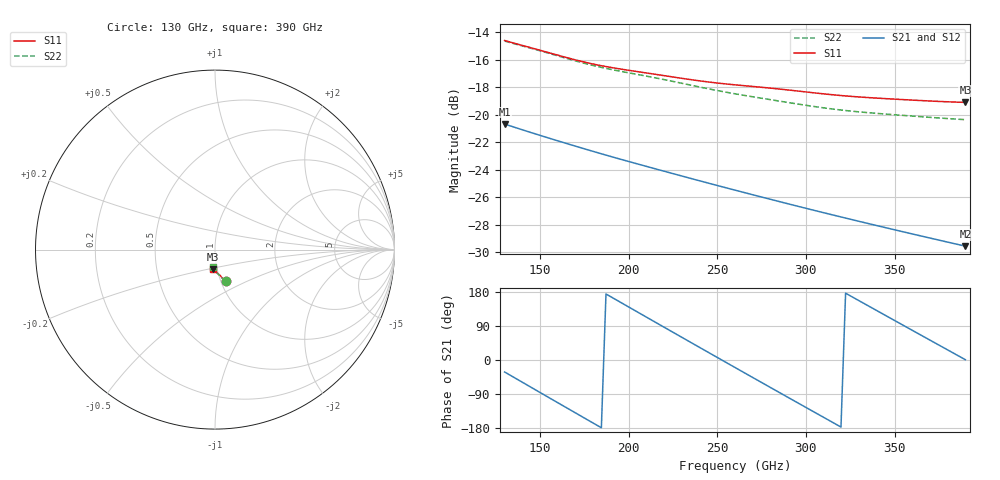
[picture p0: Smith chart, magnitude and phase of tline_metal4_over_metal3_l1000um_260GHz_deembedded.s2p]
! Created with skrf 2.2.0 (http://scikit-rf.org).
# GHz S DB R 50.0
! Port[1] = P1
! Port[2] = P2
!freq dBS11 angS11 dBS21 angS21 dBS12 angS12 dBS22 angS22
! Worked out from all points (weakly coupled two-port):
!   101 points, 130 GHz to 390 GHz, reference 50 ohm
!   highest |S21| = -20.68 dB at 130 GHz (marker M1); lowest = -29.6 dB at 390 GHz (marker M2)
!   lowest |S11| = -19.1 dB at 390 GHz (marker M3), VSWR 1.25, Z = 47.7 - j10.6 ohm
!   |S11| at or under -10 dB: start of sweep to end of sweep
!   |S22| runs from -20.4 to -14.6 dB; largest |S21 - S12| = 7.7e-14
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130  -14.59 -71.1  -20.68 -31.6  -20.68 -31.6  -14.64 -70.9
140.4  -14.97 -72.5  -21.11 -59.8  -21.11 -59.8  -15.00 -72.5
150.8  -15.34 -74.1  -21.53 -87.9  -21.53 -87.9  -15.37 -74.4
161.2  -15.71 -75.6  -21.95 -115.9  -21.95 -115.9  -15.76 -76.1
174.2  -16.14 -77.0  -22.45 -150.9  -22.45 -150.9  -16.23 -77.9
182  -16.36 -77.6  -22.74 -171.9  -22.74 -171.9  -16.48 -78.8
192.4  -16.61 -78.6  -23.13 160.3  -23.13 160.3  -16.76 -80.0
205.4  -16.87 -79.9  -23.59 125.5  -23.59 125.5  -17.08 -81.7
218.4  -17.12 -81.4  -24.05 90.8  -24.05 90.8  -17.40 -83.6
228.8  -17.33 -82.6  -24.42 63.1  -24.42 63.1  -17.68 -85.1
239.2  -17.52 -83.6  -24.78 35.4  -24.78 35.4  -17.96 -86.4
249.6  -17.69 -84.5  -25.14 7.8  -25.14 7.8  -18.23 -87.5
260  -17.82 -85.5  -25.49 -19.7  -25.49 -19.7  -18.47 -88.5
270.4  -17.95 -86.6  -25.84 -47.2  -25.84 -47.2  -18.70 -89.5
280.8  -18.07 -87.7  -26.18 -74.6  -26.18 -74.6  -18.92 -90.4
291.2  -18.21 -88.9  -26.52 -102.0  -26.52 -102.0  -19.13 -91.3
304.2  -18.40 -90.2  -26.94 -136.1  -26.94 -136.1  -19.39 -92.2
314.6  -18.54 -91.0  -27.28 -163.3  -27.28 -163.3  -19.58 -92.8
325  -18.66 -91.7  -27.60 169.5  -27.60 169.5  -19.73 -93.3
348.4  -18.85 -93.3  -28.32 108.6  -28.32 108.6  -19.98 -94.7
366.6  -18.98 -94.6  -28.87 61.3  -28.87 61.3  -20.16 -96.0
390  -19.10 -96.1  -29.57 0.7  -29.57 0.7  -20.36 -97.6
